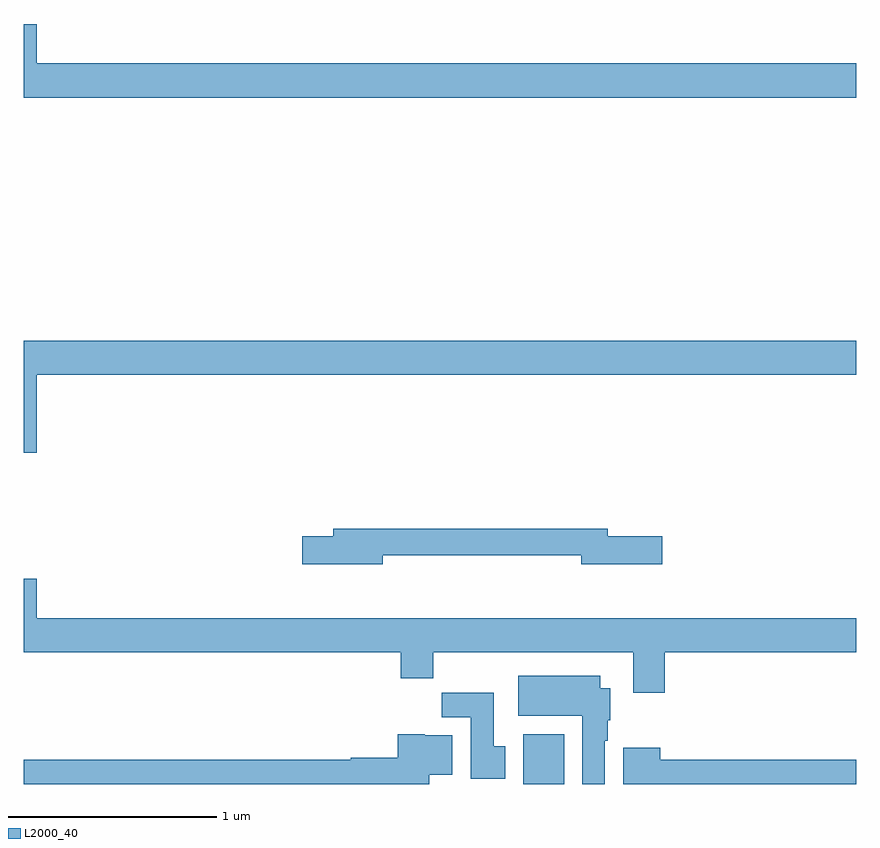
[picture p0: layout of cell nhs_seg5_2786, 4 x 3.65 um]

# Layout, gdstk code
import gdstk
lib = gdstk.Library(unit=1e-6, precision=1e-09)
def R(c, l, rs):  # rectangles x0, y0, x1, y1
    for r in rs: c.add(gdstk.rectangle(r[:2], r[2:], *l))
def P(c, l, *ps):  # polygons
    for p in ps: c.add(gdstk.Polygon(p, *l))
L2000_40 = (2000, 40)

nhs_seg5_2786 = lib.new_cell('nhs_seg5_2786')
R(nhs_seg5_2786, L2000_40, [(275.399,850.799,275.596,851.038)])
P(nhs_seg5_2786, L2000_40, [(277,854.26),(273.064,854.26),(273.064,854.449),(273,854.449),(273,854.096),(277,854.096)],
  [(273.064,852.764),(277,852.764),(277,852.928),(273,852.928),(273,852.39),(273.064,852.39)],
  [(274.726,851.898),(275.678,851.898),(275.678,851.855),(276.067,851.855),(276.067,851.99),(275.806,851.99),(275.806,852.026),(274.487,852.026),(274.487,851.99),(274.338,851.99),(274.338,851.855),(274.726,851.855)],
  [(276.08,851.432),(277,851.432),(277,851.596),(273.064,851.596),(273.064,851.785),(273,851.785),(273,851.432),(274.811,851.432),(274.811,851.308),(274.967,851.308),(274.967,851.432),(275.927,851.432),(275.927,851.238),(276.08,851.238)],
  [(275.791,851.006),(275.806,851.006),(275.806,851.106),(275.818,851.106),(275.818,851.26),(275.77,851.26),(275.77,851.32),(275.375,851.32),(275.375,851.126),(275.684,851.126),(275.684,850.799),(275.791,850.799)],
  [(275.314,850.98),(275.257,850.98),(275.257,851.238),(275.008,851.238),(275.008,851.12),(275.147,851.12),(275.147,850.824),(275.314,850.824)],
  [(274.948,850.844),(275.059,850.844),(275.059,851.032),(274.926,851.032),(274.926,851.038),(274.796,851.038),(274.796,850.924),(274.572,850.924),(274.572,850.916),(273,850.916),(273,850.799),(274.948,850.799)],
  [(277,850.916),(276.058,850.916),(276.058,850.972),(275.879,850.972),(275.879,850.799),(277,850.799)])

lib.write_gds('nhs_seg5_2786.gds')
